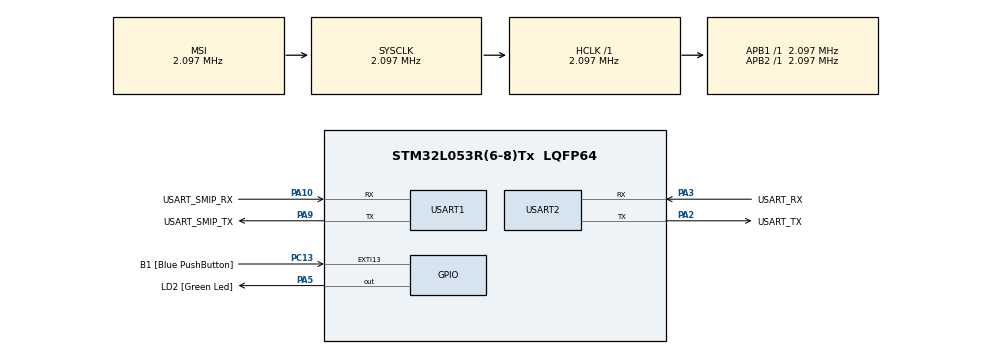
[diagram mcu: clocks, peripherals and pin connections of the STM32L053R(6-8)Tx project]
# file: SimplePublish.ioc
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Mcu.Family=STM32L0
Mcu.Name=STM32L053R(6-8)Tx
Mcu.Package=LQFP64
NVIC.USART1_IRQn=true\:0\:0\:false\:false\:true
PA10.GPIO_Label=USART_SMIP_RX
PA10.Mode=Asynchronous
PA10.Signal=USART1_RX
PA13.GPIO_Label=TMS
PA13.Mode=Serial_Wire
PA13.Signal=SYS_SWDIO
PA14.GPIO_Label=TCK
PA14.Mode=Serial_Wire
PA14.Signal=SYS_SWCLK
PA2.GPIO_Label=USART_TX
PA2.Mode=Asynchronous
PA2.Signal=USART2_TX
PA3.GPIO_Label=USART_RX
PA3.Mode=Asynchronous
PA3.Signal=USART2_RX
PA5.GPIO_Label=LD2 [Green Led]
PA5.Signal=GPIO_Output
PA9.GPIO_Label=USART_SMIP_TX
PA9.Mode=Asynchronous
PA9.Signal=USART1_TX
PC13.GPIO_Label=B1 [Blue PushButton]
PC13.GPIO_ModeDefaultEXTI=GPIO_MODE_EVT_RISING
PC13.Signal=GPXTI13
PC14-OSC32_IN.Mode=LSE-External-Oscillator
PC14-OSC32_IN.Signal=RCC_OSC32_IN
PC15-OSC32_OUT.Mode=LSE-External-Oscillator
PC15-OSC32_OUT.Signal=RCC_OSC32_OUT
PH0-OSC_IN.Mode=HSE-External-Oscillator
PH0-OSC_IN.Signal=RCC_OSC_IN
PH1-OSC_OUT.Mode=HSE-External-Oscillator
PH1-OSC_OUT.Signal=RCC_OSC_OUT
ProjectManager.HeapSize=0x200
ProjectManager.StackSize=0x400
ProjectManager.TargetToolchain=SW4STM32
RCC.AHBFreq_Value=2097000
RCC.APB1Freq_Value=2097000
RCC.APB1TimFreq_Value=2097000
RCC.APB2Freq_Value=2097000
RCC.APB2TimFreq_Value=2097000
RCC.HSE_VALUE=8000000
RCC.HSI16_VALUE=16000000
RCC.HSI48_VALUE=48000000
RCC.HSI_VALUE=16000000
RCC.MSI_VALUE=2097000
RCC.SYSCLKFreq_VALUE=2097000
RCC.VCOOutputFreq_Value=48000000
USART1.WordLength=UART_WORDLENGTH_8B
USART2.WordLength=UART_WORDLENGTH_8B
board=NUCLEO-L053R8

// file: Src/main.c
/**
  ******************************************************************************
  * File Name          : main.c
  * Description        : Main program body
  ******************************************************************************
  *
  * COPYRIGHT(c) 2016 STMicroelectronics
  *
  * Redistribution and use in source and binary forms, with or without modification,
  * are permitted provided that the following conditions are met:
  *   1. Redistributions of source code must retain the above copyright notice,
  *      this list of conditions and the following disclaimer.
  *   2. Redistributions in binary form must reproduce the above copyright notice,
  *      this list of conditions and the following disclaimer in the documentation
  *      and/or other materials provided with the distribution.
  *   3. Neither the name of STMicroelectronics nor the names of its contributors
  *      may be used to endorse or promote products derived from this software
  *      without specific prior written permission.
  *
  * THIS SOFTWARE IS PROVIDED BY THE COPYRIGHT HOLDERS AND CONTRIBUTORS "AS IS"
  * AND ANY EXPRESS OR IMPLIED WARRANTIES, INCLUDING, BUT NOT LIMITED TO, THE
  * IMPLIED WARRANTIES OF MERCHANTABILITY AND FITNESS FOR A PARTICULAR PURPOSE ARE
  * DISCLAIMED. IN NO EVENT SHALL THE COPYRIGHT HOLDER OR CONTRIBUTORS BE LIABLE
  * FOR ANY DIRECT, INDIRECT, INCIDENTAL, SPECIAL, EXEMPLARY, OR CONSEQUENTIAL
  * DAMAGES (INCLUDING, BUT NOT LIMITED TO, PROCUREMENT OF SUBSTITUTE GOODS OR
  * SERVICES; LOSS OF USE, DATA, OR PROFITS; OR BUSINESS INTERRUPTION) HOWEVER
  * CAUSED AND ON ANY THEORY OF LIABILITY, WHETHER IN CONTRACT, STRICT LIABILITY,
  * OR TORT (INCLUDING NEGLIGENCE OR OTHERWISE) ARISING IN ANY WAY OUT OF THE USE
  * OF THIS SOFTWARE, EVEN IF ADVISED OF THE POSSIBILITY OF SUCH DAMAGE.
  *
  ******************************************************************************
  */
#include "stm32l0xx_hal.h"
#include "usart.h"
#include "gpio.h"

/* USER CODE BEGIN Includes */
#include <stdlib.h>
#include "dn_qsl_api.h"		// Only really need this include from
#include "dn_debug.h"		// Included to borrow debug macros
#include "dn_endianness.h"	// Included to borrow array copying
#include "dn_time.h"		// Included to borrow sleep function
/* USER CODE END Includes */

/* USER CODE BEGIN PV */
/* Private variables ---------------------------------------------------------*/
#define NETID			0		// Factory default value used if zero (1229)
#define JOINKEY			NULL	// Factory default value used if NULL (44 55 53 54 4E 45 54 57 4F 52 4B 53 52 4F 43 4B)
#define BANDWIDTH_MS	5000	// Not changed if zero (default base bandwidth given by manager is 9 s)
#define SRC_PORT		60000	// Default port used if zero (0xf0b8)
#define DEST_PORT		0		// Default port used if zero (0xf0b8)
#define DATA_PERIOD_MS	5000	// Should be longer than (or equal to) bandwidth
/* USER CODE END PV */

void SystemClock_Config(void);
void Error_Handler(void);

/* USER CODE BEGIN PFP */
/* Private function prototypes -----------------------------------------------*/
static uint16_t randomWalk(void);
static void parsePayload(const uint8_t *payload, uint8_t size);
/* USER CODE END PFP */

int main(void)
{

  /* USER CODE BEGIN 1 */
  uint8_t payload[3];
  uint8_t inboxBuf[DN_DEFAULT_PAYLOAD_SIZE_LIMIT];
  uint8_t bytesRead;
  uint8_t i;
  /* USER CODE END 1 */

  /* MCU Configuration----------------------------------------------------------*/

  /* Reset of all peripherals, Initializes the Flash interface and the Systick. */
  HAL_Init();

  /* Configure the system clock */
  SystemClock_Config();

  /* Initialize all configured peripherals */
  MX_GPIO_Init();
  MX_USART1_UART_Init();
  MX_USART2_UART_Init();

  /* USER CODE BEGIN 2 */
  log_info("Initializing...");
  dn_qsl_init();

  // Flash green LED to indicate start-up complete
  for (i = 0; i < 10; i++)
  {
	  HAL_GPIO_TogglePin(GPIOA, LD2_Pin);
	  dn_sleep_ms(50);
  }
  /* USER CODE END 2 */

  /* Infinite loop */
  /* USER CODE BEGIN WHILE */
  while (TRUE)
  {

  /* USER CODE END WHILE */

  /* USER CODE BEGIN 3 */
	  if (dn_qsl_isConnected())
	  {
		  uint16_t val = randomWalk();
		  static uint8_t count = 0;
		  HAL_GPIO_WritePin(GPIOA, LD2_Pin, GPIO_PIN_RESET); // Turn LED off during send/read

		  dn_write_uint16_t(payload, val);
		  payload[2] = count;

		  if (dn_qsl_send(payload, sizeof (payload), DEST_PORT))
		  {
			  log_info("Sent message nr %u: %u", count, val);
			  count++;
		  } else
		  {
			  log_info("Send failed");
		  }

		  do
		  {
			  bytesRead = dn_qsl_read(inboxBuf);
			  parsePayload(inboxBuf, bytesRead);
		  } while (bytesRead > 0);

		  HAL_GPIO_WritePin(GPIOA, LD2_Pin, GPIO_PIN_SET); // Turn on green LED
		  dn_sleep_ms(DATA_PERIOD_MS);
	  } else
	  {
		  log_info("Connecting...");
		  HAL_GPIO_WritePin(GPIOA, LD2_Pin, GPIO_PIN_RESET); // Not connected; turn off green LED
		  if (dn_qsl_connect(NETID, JOINKEY, SRC_PORT, BANDWIDTH_MS))
		  {
			  log_info("Connected to network");
			  HAL_GPIO_WritePin(GPIOA, LD2_Pin, GPIO_PIN_SET); // Connected; turn on green LED
		  } else
		  {
			  log_info("Failed to connect");
		  }
	  }
  }
  /* USER CODE END 3 */

}

/** System Clock Configuration
*/
void SystemClock_Config(void)
{

  RCC_OscInitTypeDef RCC_OscInitStruct;
  RCC_ClkInitTypeDef RCC_ClkInitStruct;
  RCC_PeriphCLKInitTypeDef PeriphClkInit;

  __HAL_RCC_PWR_CLK_ENABLE();

  __HAL_PWR_VOLTAGESCALING_CONFIG(PWR_REGULATOR_VOLTAGE_SCALE1);

  RCC_OscInitStruct.OscillatorType = RCC_OSCILLATORTYPE_MSI;
  RCC_OscInitStruct.MSIState = RCC_MSI_ON;
  RCC_OscInitStruct.MSICalibrationValue = 0;
  RCC_OscInitStruct.MSIClockRange = RCC_MSIRANGE_5;
  RCC_OscInitStruct.PLL.PLLState = RCC_PLL_NONE;
  if (HAL_RCC_OscConfig(&RCC_OscInitStruct) != HAL_OK)
  {
    Error_Handler();
  }

  RCC_ClkInitStruct.ClockType = RCC_CLOCKTYPE_HCLK|RCC_CLOCKTYPE_SYSCLK
                              |RCC_CLOCKTYPE_PCLK1|RCC_CLOCKTYPE_PCLK2;
  RCC_ClkInitStruct.SYSCLKSource = RCC_SYSCLKSOURCE_MSI;
  RCC_ClkInitStruct.AHBCLKDivider = RCC_SYSCLK_DIV1;
  RCC_ClkInitStruct.APB1CLKDivider = RCC_HCLK_DIV1;
  RCC_ClkInitStruct.APB2CLKDivider = RCC_HCLK_DIV1;
  if (HAL_RCC_ClockConfig(&RCC_ClkInitStruct, FLASH_LATENCY_0) != HAL_OK)
  {
    Error_Handler();
  }

  PeriphClkInit.PeriphClockSelection = RCC_PERIPHCLK_USART1|RCC_PERIPHCLK_USART2;
  PeriphClkInit.Usart1ClockSelection = RCC_USART1CLKSOURCE_PCLK2;
  PeriphClkInit.Usart2ClockSelection = RCC_USART2CLKSOURCE_PCLK1;
  if (HAL_RCCEx_PeriphCLKConfig(&PeriphClkInit) != HAL_OK)
  {
    Error_Handler();
  }

  HAL_SYSTICK_Config(HAL_RCC_GetHCLKFreq()/1000);

  HAL_SYSTICK_CLKSourceConfig(SYSTICK_CLKSOURCE_HCLK);

  /* SysTick_IRQn interrupt configuration */
  HAL_NVIC_SetPriority(SysTick_IRQn, 0, 0);
}

/* USER CODE BEGIN 4 */
static uint16_t randomWalk(void)
{
	static bool first = TRUE;
	static uint16_t lastValue = 0x7fff; // Start in middle of uint16 range
	const int powerLevel = 9001;

	// Seed random number generator on first call
	if (first)
	{
		first = FALSE;
		srand(dn_time_ms());
	}

	// Random walk within +/- powerLevel
	lastValue += rand() / (RAND_MAX / (2*powerLevel) + 1) - powerLevel;
	return lastValue;
}

static void parsePayload(const uint8_t *payload, uint8_t size)
{
	uint8_t i;
	char msg[size + 1];

	if (size == 0)
	{
		// Nothing to parse
		return;
	}

	// Parse bytes individually as well as together as a string
	log_info("Received downstream payload of %u bytes:", size);
	for (i = 0; i < size; i++)
	{
		msg[i] = payload[i];
		log_info("\tByte# %03u: %#.2x (%u)", i, payload[i], payload[i]);
	}
	msg[size] = '\0';
	log_info("\tMessage: %s", msg);
}
/* USER CODE END 4 */

void Error_Handler(void)
{
  while(1)
  {
  }
}

/************************ (C) COPYRIGHT STMicroelectronics *****END OF FILE****/
